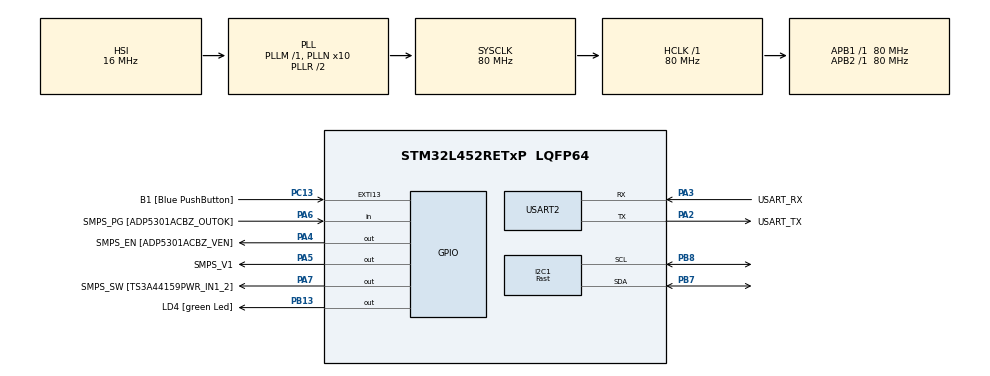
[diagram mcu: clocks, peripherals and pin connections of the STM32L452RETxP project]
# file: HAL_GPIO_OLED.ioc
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I2C1.I2C_Speed_Mode=I2C_Fast
I2C1.Timing=0x00702991
Mcu.Family=STM32L4
Mcu.Name=STM32L452RETxP
Mcu.Package=LQFP64
NVIC.PriorityGroup=NVIC_PRIORITYGROUP_4
PA13\ (JTMS/SWDIO).GPIO_Label=TMS
PA13\ (JTMS/SWDIO).Mode=Serial_Wire
PA13\ (JTMS/SWDIO).Signal=SYS_JTMS-SWDIO
PA14\ (JTCK/SWCLK).GPIO_Label=TCK
PA14\ (JTCK/SWCLK).Mode=Serial_Wire
PA14\ (JTCK/SWCLK).Signal=SYS_JTCK-SWCLK
PA2.GPIO_Label=USART_TX
PA2.GPIO_Mode=GPIO_MODE_AF_PP
PA2.GPIO_PuPd=GPIO_NOPULL
PA2.GPIO_Speed=GPIO_SPEED_FREQ_VERY_HIGH
PA2.Mode=Asynchronous
PA2.Signal=USART2_TX
PA3.GPIO_Label=USART_RX
PA3.GPIO_Mode=GPIO_MODE_AF_PP
PA3.GPIO_PuPd=GPIO_NOPULL
PA3.GPIO_Speed=GPIO_SPEED_FREQ_VERY_HIGH
PA3.Mode=Asynchronous
PA3.Signal=USART2_RX
PA4.GPIO_Label=SMPS_EN [ADP5301ACBZ_VEN]
PA4.Signal=GPIO_Output
PA5.GPIO_Label=SMPS_V1
PA5.GPIO_ModeDefaultOutputPP=GPIO_MODE_OUTPUT_PP
PA5.GPIO_PuPd=GPIO_NOPULL
PA5.GPIO_Speed=GPIO_SPEED_FREQ_LOW
PA5.Signal=GPIO_Output
PA6.GPIO_Label=SMPS_PG [ADP5301ACBZ_OUTOK]
PA6.GPIO_PuPd=GPIO_PULLUP
PA6.Signal=GPIO_Input
PA7.GPIO_Label=SMPS_SW [TS3A44159PWR_IN1_2]
PA7.Signal=GPIO_Output
PB13.GPIO_Label=LD4 [green Led]
PB13.Signal=GPIO_Output
PB3\ (JTDO/TRACESWO).GPIO_Label=SWO
PB3\ (JTDO/TRACESWO).Signal=SYS_JTDO-SWO
PB7.Mode=I2C
PB7.Signal=I2C1_SDA
PB8.Mode=I2C
PB8.Signal=I2C1_SCL
PC13.GPIO_Label=B1 [Blue PushButton]
PC13.GPIO_ModeDefaultEXTI=GPIO_MODE_IT_FALLING
PC13.GPIO_PuPd=GPIO_NOPULL
PC13.Signal=GPXTI13
PC14-OSC32_IN\ (PC14).Mode=LSE-External-Oscillator
PC14-OSC32_IN\ (PC14).Signal=RCC_OSC32_IN
PC15-OSC32_OUT\ (PC15).Mode=LSE-External-Oscillator
PC15-OSC32_OUT\ (PC15).Signal=RCC_OSC32_OUT
PH0-OSC_IN\ (PH0).GPIO_Label=MCO
PH0-OSC_IN\ (PH0).Mode=HSE-External-Clock-Source
PH0-OSC_IN\ (PH0).Signal=RCC_OSC_IN
PH1-OSC_OUT\ (PH1).Signal=RCC_OSC_OUT
ProjectManager.HeapSize=0x200
ProjectManager.StackSize=0x400
ProjectManager.TargetToolchain=STM32CubeIDE
RCC.ADCFreq_Value=64000000
RCC.AHBFreq_Value=80000000
RCC.APB1Freq_Value=80000000
RCC.APB1TimFreq_Value=80000000
RCC.APB2Freq_Value=80000000
RCC.APB2TimFreq_Value=80000000
RCC.CortexFreq_Value=80000000
RCC.HCLKFreq_Value=80000000
RCC.HSE_VALUE=8000000
RCC.HSI48_VALUE=48000000
RCC.HSI_VALUE=16000000
RCC.MSI_VALUE=4000000
RCC.PLLN=10
RCC.PLLSourceVirtual=RCC_PLLSOURCE_HSI
RCC.PREFETCH_ENABLE=1
RCC.SYSCLKFreq_VALUE=80000000
RCC.SYSCLKSource=RCC_SYSCLKSOURCE_PLLCLK
RCC.USBFreq_Value=64000000
RCC.VCOOutputFreq_Value=160000000
USART2.VirtualMode-Asynchronous=VM_ASYNC
board=NUCLEO-L452RE-P

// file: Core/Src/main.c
/* USER CODE BEGIN Header */
/**
  ******************************************************************************
  * @file           : main.c
  * @brief          : Main program body
  ******************************************************************************
  * @attention
  *
  * Copyright (c) 2024 STMicroelectronics.
  * All rights reserved.
  *
  * This software is licensed under terms that can be found in the LICENSE file
  * in the root directory of this software component.
  * If no LICENSE file comes with this software, it is provided AS-IS.
  *
  ******************************************************************************
  */
/* USER CODE END Header */
#include "main.h"

/* USER CODE BEGIN Includes */
#include "fonts.h"
#include "ssd1306.h"
/* USER CODE END Includes */

I2C_HandleTypeDef hi2c1;

UART_HandleTypeDef huart2;

void SystemClock_Config(void);
static void MX_GPIO_Init(void);
static void MX_USART2_UART_Init(void);
static void MX_I2C1_Init(void);

int main(void)
{

  /* MCU Configuration--------------------------------------------------------*/

  /* Reset of all peripherals, Initializes the Flash interface and the Systick. */
  HAL_Init();

  /* Configure the system clock */
  SystemClock_Config();

  /* Initialize all configured peripherals */
  MX_GPIO_Init();
  MX_USART2_UART_Init();
  MX_I2C1_Init();
  /* USER CODE BEGIN 2 */
  SSD1306_Init();
  SSD1306_GotoXY (0,0);
  SSD1306_Puts ("MICROPETA", &Font_11x18, 1);
  SSD1306_GotoXY (0, 30);
  SSD1306_Puts ("BY NIZAR", &Font_11x18, 1);
  SSD1306_UpdateScreen();
  HAL_Delay (1000);
  SSD1306_ScrollRight(0,7);
  HAL_Delay(3000);
  SSD1306_ScrollLeft(0,7);
  HAL_Delay(3000);
  SSD1306_Stopscroll();
  SSD1306_Clear();

  int num=2024;
  char snum[5];
  SSD1306_GotoXY (30,20);
  itoa(num, snum, 10);
  SSD1306_Puts (snum, &Font_16x26, 1);
  SSD1306_UpdateScreen();

  //SSD1306_DrawLine(POINT1 X, POINT1 Y, POINT2 X, POINT2 Y, 1);
  SSD1306_DrawLine(1,54,126,54,1);
  SSD1306_UpdateScreen();
  HAL_Delay (5000);
  SSD1306_Clear();

  // For Rectangle, we need to use two corner points
  // SSD1306_DrawRectangle(POINT1 X, POINT1 Y, POINT2 X, POINT2 Y, 1);
  SSD1306_DrawRectangle(17,1,115,14,1);
  // SSD1306_DrawTriangle(POINT1X, POINT1Y, POINT2X, POINT2Y, POINT3X, POINT3Y, 1);
  SSD1306_DrawTriangle(73,22,124,62,74,54,1);
  // SSD1306_DrawCircle(CENTER POINT X, CENTER POINT Y, RADIUS, 1);
  SSD1306_DrawCircle(34,50,13,1);
  SSD1306_UpdateScreen();
  /* USER CODE END 2 */

  /* Infinite loop */
  while (1)
  {

  }
}

void SystemClock_Config(void)
{
  RCC_OscInitTypeDef RCC_OscInitStruct = {0};
  RCC_ClkInitTypeDef RCC_ClkInitStruct = {0};

  /** Configure the main internal regulator output voltage
  */
  if (HAL_PWREx_ControlVoltageScaling(PWR_REGULATOR_VOLTAGE_SCALE1) != HAL_OK)
  {
    Error_Handler();
  }

  /** Initializes the RCC Oscillators according to the specified parameters
  * in the RCC_OscInitTypeDef structure.
  */
  RCC_OscInitStruct.OscillatorType = RCC_OSCILLATORTYPE_HSI;
  RCC_OscInitStruct.HSIState = RCC_HSI_ON;
  RCC_OscInitStruct.HSICalibrationValue = 64;
  RCC_OscInitStruct.PLL.PLLState = RCC_PLL_ON;
  RCC_OscInitStruct.PLL.PLLSource = RCC_PLLSOURCE_HSI;
  RCC_OscInitStruct.PLL.PLLM = 1;
  RCC_OscInitStruct.PLL.PLLN = 10;
  RCC_OscInitStruct.PLL.PLLP = RCC_PLLP_DIV7;
  RCC_OscInitStruct.PLL.PLLQ = RCC_PLLQ_DIV2;
  RCC_OscInitStruct.PLL.PLLR = RCC_PLLR_DIV2;
  if (HAL_RCC_OscConfig(&RCC_OscInitStruct) != HAL_OK)
  {
    Error_Handler();
  }

  /** Initializes the CPU, AHB and APB buses clocks
  */
  RCC_ClkInitStruct.ClockType = RCC_CLOCKTYPE_HCLK|RCC_CLOCKTYPE_SYSCLK
                              |RCC_CLOCKTYPE_PCLK1|RCC_CLOCKTYPE_PCLK2;
  RCC_ClkInitStruct.SYSCLKSource = RCC_SYSCLKSOURCE_PLLCLK;
  RCC_ClkInitStruct.AHBCLKDivider = RCC_SYSCLK_DIV1;
  RCC_ClkInitStruct.APB1CLKDivider = RCC_HCLK_DIV1;
  RCC_ClkInitStruct.APB2CLKDivider = RCC_HCLK_DIV1;

  if (HAL_RCC_ClockConfig(&RCC_ClkInitStruct, FLASH_LATENCY_4) != HAL_OK)
  {
    Error_Handler();
  }
}

static void MX_I2C1_Init(void)
{

  hi2c1.Instance = I2C1;
  hi2c1.Init.Timing = 0x00702991;
  hi2c1.Init.OwnAddress1 = 0;
  hi2c1.Init.AddressingMode = I2C_ADDRESSINGMODE_7BIT;
  hi2c1.Init.DualAddressMode = I2C_DUALADDRESS_DISABLE;
  hi2c1.Init.OwnAddress2 = 0;
  hi2c1.Init.OwnAddress2Masks = I2C_OA2_NOMASK;
  hi2c1.Init.GeneralCallMode = I2C_GENERALCALL_DISABLE;
  hi2c1.Init.NoStretchMode = I2C_NOSTRETCH_DISABLE;
  if (HAL_I2C_Init(&hi2c1) != HAL_OK)
  {
    Error_Handler();
  }

  /** Configure Analogue filter
  */
  if (HAL_I2CEx_ConfigAnalogFilter(&hi2c1, I2C_ANALOGFILTER_ENABLE) != HAL_OK)
  {
    Error_Handler();
  }

  /** Configure Digital filter
  */
  if (HAL_I2CEx_ConfigDigitalFilter(&hi2c1, 0) != HAL_OK)
  {
    Error_Handler();
  }

}

static void MX_USART2_UART_Init(void)
{

  huart2.Instance = USART2;
  huart2.Init.BaudRate = 115200;
  huart2.Init.WordLength = UART_WORDLENGTH_8B;
  huart2.Init.StopBits = UART_STOPBITS_1;
  huart2.Init.Parity = UART_PARITY_NONE;
  huart2.Init.Mode = UART_MODE_TX_RX;
  huart2.Init.HwFlowCtl = UART_HWCONTROL_NONE;
  huart2.Init.OverSampling = UART_OVERSAMPLING_16;
  huart2.Init.OneBitSampling = UART_ONE_BIT_SAMPLE_DISABLE;
  huart2.AdvancedInit.AdvFeatureInit = UART_ADVFEATURE_NO_INIT;
  if (HAL_UART_Init(&huart2) != HAL_OK)
  {
    Error_Handler();
  }

}

static void MX_GPIO_Init(void)
{
  GPIO_InitTypeDef GPIO_InitStruct = {0};

  /* GPIO Ports Clock Enable */
  __HAL_RCC_GPIOC_CLK_ENABLE();
  __HAL_RCC_GPIOH_CLK_ENABLE();
  __HAL_RCC_GPIOA_CLK_ENABLE();
  __HAL_RCC_GPIOB_CLK_ENABLE();

  /*Configure GPIO pin Output Level */
  HAL_GPIO_WritePin(GPIOA, SMPS_EN_Pin|SMPS_V1_Pin|SMPS_SW_Pin, GPIO_PIN_RESET);

  /*Configure GPIO pin Output Level */
  HAL_GPIO_WritePin(LD4_GPIO_Port, LD4_Pin, GPIO_PIN_RESET);

  /*Configure GPIO pin : B1_Pin */
  GPIO_InitStruct.Pin = B1_Pin;
  GPIO_InitStruct.Mode = GPIO_MODE_IT_FALLING;
  GPIO_InitStruct.Pull = GPIO_NOPULL;
  HAL_GPIO_Init(B1_GPIO_Port, &GPIO_InitStruct);

  /*Configure GPIO pins : SMPS_EN_Pin SMPS_V1_Pin SMPS_SW_Pin */
  GPIO_InitStruct.Pin = SMPS_EN_Pin|SMPS_V1_Pin|SMPS_SW_Pin;
  GPIO_InitStruct.Mode = GPIO_MODE_OUTPUT_PP;
  GPIO_InitStruct.Pull = GPIO_NOPULL;
  GPIO_InitStruct.Speed = GPIO_SPEED_FREQ_LOW;
  HAL_GPIO_Init(GPIOA, &GPIO_InitStruct);

  /*Configure GPIO pin : SMPS_PG_Pin */
  GPIO_InitStruct.Pin = SMPS_PG_Pin;
  GPIO_InitStruct.Mode = GPIO_MODE_INPUT;
  GPIO_InitStruct.Pull = GPIO_PULLUP;
  HAL_GPIO_Init(SMPS_PG_GPIO_Port, &GPIO_InitStruct);

  /*Configure GPIO pin : LD4_Pin */
  GPIO_InitStruct.Pin = LD4_Pin;
  GPIO_InitStruct.Mode = GPIO_MODE_OUTPUT_PP;
  GPIO_InitStruct.Pull = GPIO_NOPULL;
  GPIO_InitStruct.Speed = GPIO_SPEED_FREQ_LOW;
  HAL_GPIO_Init(LD4_GPIO_Port, &GPIO_InitStruct);

}

void Error_Handler(void)
{
  __disable_irq();
  while (1)
  {
  }
}
